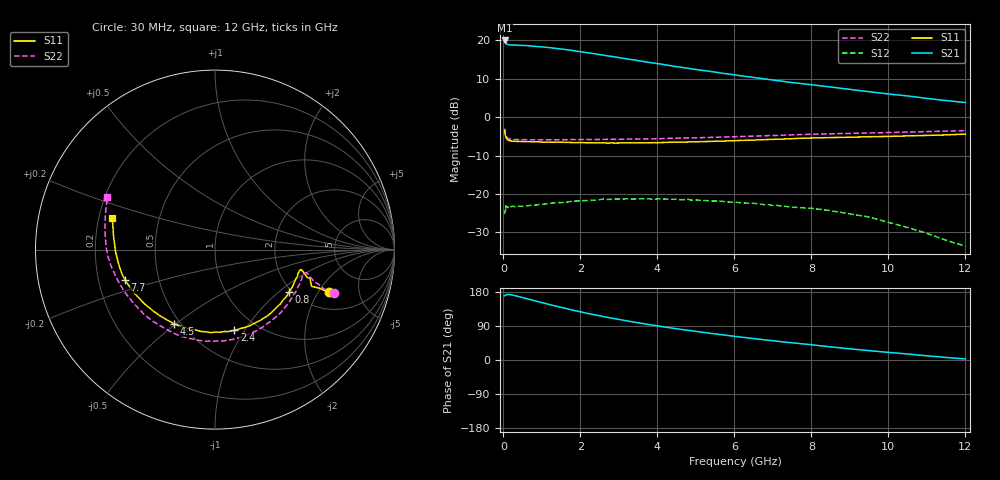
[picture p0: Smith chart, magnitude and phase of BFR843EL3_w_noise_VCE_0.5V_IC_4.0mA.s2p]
! Infineon Technologies  Discrete & RF Semiconductors
! BFR843EL3
! VCE =  0.5 V,  IC =  4.0 mA
! Common Emitter S-Parameters:  Aug 2013
# GHz  S  MA  R  50
!  f  S11  S21  S12  S22
! GHz  MAG  ANG  MAG  ANG  MAG  ANG  MAG  ANG
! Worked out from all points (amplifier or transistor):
!   103 points, 30 MHz to 12 GHz, reference 50 ohm
!   highest |S21| = 19.9 dB at 30 MHz (marker M1)
!   |S21| within 3 dB of that: start of sweep to 2.053 GHz
!   unconditionally stable (mu >= 1): 7.216 GHz to end of sweep
!   at 400 MHz: K = 0.99, MSG = 20.9 dB, |S12| = -23.2 dB
!   at 3.7 GHz: K = 0.70, MSG = 17.8 dB, |S12| = -21.3 dB
!   at 12 GHz: K = 5.13, MAG = 8.6 dB, |S12| = -33.6 dB
!   lowest NFmin = 0.92 dB at 900 MHz
!   S11 on the Smith chart (normalised r, x): 30 MHz: 2.85, -2.49; 800 MHz: 1.94, -1.17; 2.4 GHz: 0.79, -0.90; 4.5 GHz: 0.46, -0.49; 7.7 GHz: 0.32, -0.15; 12 GHz: 0.25, +0.14
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0.03  0.6767 -20.5  9.936 169.4  0.0549 32.9  0.7067 -20.1
0.04  0.6184 -20.3  9.543 170.0  0.0594 27.1  0.6447 -19.8
0.06  0.5525 -16.9  9.105 171.3  0.0701 20.6  0.5811 -18.0
0.08  0.5268 -15.9  8.912 172.4  0.0669 15.5  0.5525 -16.1
0.15  0.498 -13.4  8.728 172.8  0.0691 8.2  0.5206 -14.2
0.6  0.4786 -23.4  8.52 162.0  0.0702 5.5  0.5077 -28.2
0.8  0.4753 -29.5  8.35 156.5  0.0711 6.0  0.5068 -36.0
1.2  0.471 -42.6  8.018 146.2  0.0755 4.8  0.5061 -51.5
1.5  0.4708 -51.6  7.691 138.8  0.0772 4.5  0.5076 -62.4
1.8  0.466 -60.1  7.348 131.7  0.0808 3.3  0.5096 -72.5
2.1  0.4646 -68.7  6.979 124.9  0.0819 1.9  0.5096 -82.1
2.4  0.4622 -76.6  6.635 118.5  0.083 -0.0  0.5104 -90.7
2.8  0.4608 -86.0  6.172 110.7  0.0851 -2.5  0.5143 -101.0
3.3  0.4609 -97.0  5.621 101.5  0.0861 -6.0  0.5184 -112.7
4.1  0.4662 -112.2  4.882 88.5  0.0862 -11.5  0.5239 -127.9
4.5  0.4724 -119.2  4.527 82.5  0.0852 -14.2  0.5313 -134.7
5.2  0.48 -130.1  4.039 72.8  0.0823 -18.9  0.5413 -145.1
6.1  0.4955 -142.4  3.484 61.3  0.0773 -23.4  0.5588 -156.7
7.7  0.529 -161.4  2.747 43.3  0.0663 -31.8  0.592 -173.6
8.5  0.5412 -169.9  2.462 34.6  0.0605 -36.5  0.6068 178.6
10.5  0.5689 173.1  1.884 15.8  0.0366 -43.5  0.6388 163.3
12  0.6009 163.0  1.546 2.7  0.0209 -22.9  0.6677 154.0
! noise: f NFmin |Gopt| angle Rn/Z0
0.45  0.93  0.24  7  0.2
0.9  0.92  0.24  22  0.19
1.5  0.96  0.25  37  0.17
1.9  0.98  0.25  41  0.17
2.4  1.01  0.26  53  0.16
3.5  1.07  0.26  74  0.15
5.5  1.16  0.29  111  0.12
8  1.28  0.36  152  0.08
10  1.37  0.43  202  0.05
